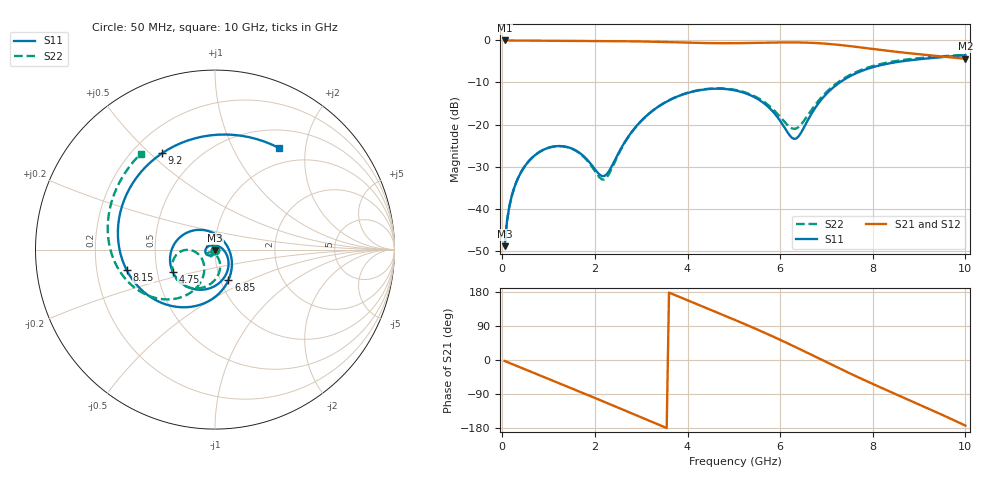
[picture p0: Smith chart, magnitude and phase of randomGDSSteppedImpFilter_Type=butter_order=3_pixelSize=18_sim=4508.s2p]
! freq	dB(S11)	phase(S11)	dB(S12)	phase(S12)
!  dB(S21)	phase(S21)	dB(S22)	phase(S22)
!S-par simulation data
#  GHz  S  DB  R 50
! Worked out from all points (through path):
!   200 points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, 50 MHz to 10 GHz, reference 50 ohm
!   highest |S21| = -0.01 dB at 50 MHz (marker M1); lowest = -4.4 dB at 10 GHz (marker M2)
!   group delay of S21, straight-line fit = 149 ps
!   lowest |S11| = -48.9 dB at 50 MHz (marker M3), VSWR 1.01, Z = 50 - j0.358 ohm
!   |S11| at or under -10 dB: start of sweep to 7.286 GHz
!   |S22| runs from -48.9 to -3.4 dB; largest |S21 - S12| = 0
!   S11 on the Smith chart (normalised r, x): 50 MHz: 1.00, -0.01; 4.75 GHz: 0.60, -0.16; 6.85 GHz: 1.09, -0.38; 8.15 GHz: 0.33, -0.10; 9.2 GHz: 0.32, +0.55; 10 GHz: 0.75, +1.54
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0.05  -48.91 -86.9  -0.01 -2.6  -0.01 -2.6  -48.90 -86.3
0.1  -43.07 -92.7  -0.01 -5.1  -0.01 -5.1  -43.05 -91.4
0.2  -37.16 -100.0  -0.02 -10.1  -0.02 -10.1  -37.14 -97.5
0.55  -28.99 -121.4  -0.04 -27.6  -0.04 -27.6  -28.97 -114.3
1.15  -25.16 -157.8  -0.08 -57.5  -0.08 -57.5  -25.16 -139.6
1.75  -27.46 156.2  -0.11 -87.6  -0.11 -87.6  -27.59 -155.0
2.2  -32.24 69.6  -0.13 -110.3  -0.13 -110.3  -33.08 -111.7
2.8  -21.68 -31.3  -0.20 -141.0  -0.20 -141.0  -21.74 -70.1
3.4  -15.52 -73.6  -0.35 -171.9  -0.35 -171.9  -15.50 -89.9
4.05  -12.34 -112.2  -0.54 155.0  -0.54 155.0  -12.29 -117.1
4.75  -11.50 -152.7  -0.66 119.7  -0.66 119.7  -11.40 -146.3
5.05  -11.93 -170.8  -0.65 104.4  -0.65 104.4  -11.80 -158.2
5.7  -15.38 143.0  -0.53 69.9  -0.53 69.9  -14.99 -178.3
6.3  -23.41 42.0  -0.46 36.0  -0.46 36.0  -21.03 -149.2
6.7  -17.01 -48.9  -0.58 12.3  -0.58 12.3  -16.16 -114.2
6.85  -14.62 -66.2  -0.67 3.3  -0.67 3.3  -14.03 -113.9
7.5  -8.55 -120.8  -1.34 -35.0  -1.34 -35.0  -8.26 -134.1
8.15  -5.93 -166.8  -2.23 -71.4  -2.23 -71.4  -5.65 -161.0
8.35  -5.46 179.3  -2.50 -82.3  -2.50 -82.3  -5.18 -169.1
9.2  -4.26 118.9  -3.50 -128.2  -3.50 -128.2  -4.01 157.8
9.6  -3.87 88.7  -3.92 -150.4  -3.92 -150.4  -3.69 142.9
10  -3.49 57.8  -4.37 -173.1  -4.37 -173.1  -3.40 127.7
